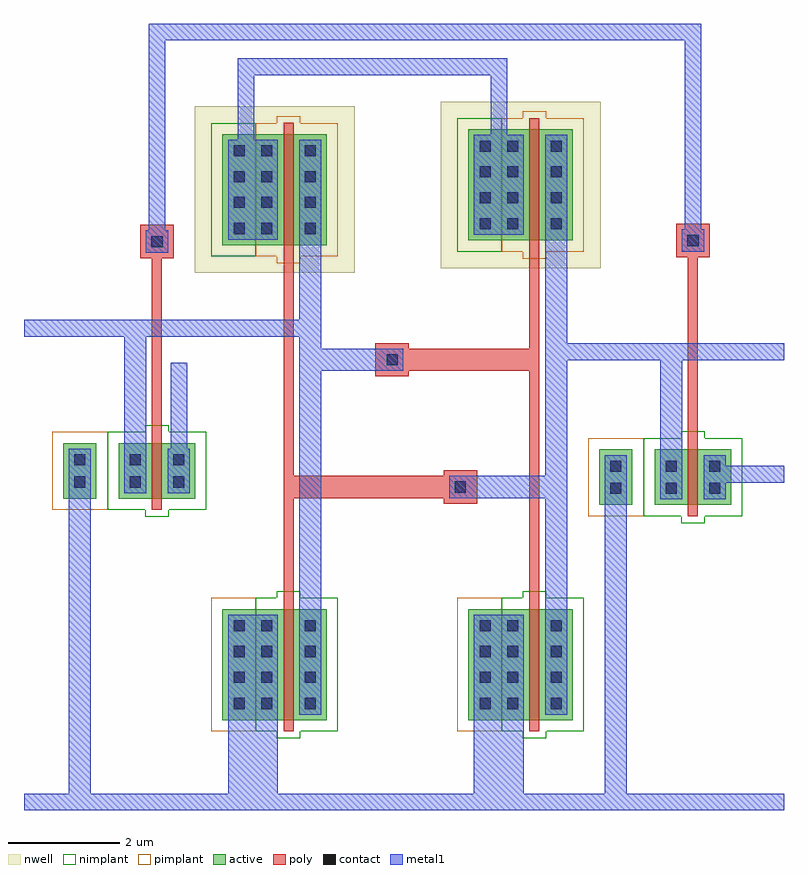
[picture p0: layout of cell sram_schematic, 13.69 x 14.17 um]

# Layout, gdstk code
import gdstk
lib = gdstk.Library(unit=1e-6, precision=5e-10)
def R(c, l, rs):  # rectangles x0, y0, x1, y1
    for r in rs: c.add(gdstk.rectangle(r[:2], r[2:], *l))
def A(c, l, x, y, w, h, nx, ny, dx, dy):  # array of equal rectangles
    R(c, l, [(x+i*dx, y+j*dy, x+i*dx+w, y+j*dy+h) for i in range(nx) for j in range(ny)])
active = (1, 0)
nwell = (2, 0)
poly = (3, 0)
nimplant = (4, 0)
pimplant = (5, 0)
contact = (6, 0)
metal1 = (7, 0)

nmos_cdns_787501521820 = lib.new_cell('nmos_CDNS_787501521820')
R(nmos_cdns_787501521820, active, [(-1.1,0,0,2), (0,0,0.18,2), (0.18,0,0.78,2)])
R(nmos_cdns_787501521820, poly, [(0,-0.205,0.18,-0.2), (0,-0.2,0.18,0), (0,0,0.18,2), (0,2,0.18,2.2), (0,2.2,0.18,2.205)])
R(nmos_cdns_787501521820, nimplant, [(-0.12,-0.325,0.3,-0.2), (-0.5,-0.2,0.98,2.2), (-0.12,2.2,0.3,2.325)])
R(nmos_cdns_787501521820, pimplant, [(-1.3,-0.2,-0.5,2.2)])
A(nmos_cdns_787501521820, contact, -0.9, 0.67, 0.2, 0.2, 1, 3, 0, 0.465)
A(nmos_cdns_787501521820, contact, -0.4, 0.67, 0.2, 0.2, 1, 3, 0, 0.465)
A(nmos_cdns_787501521820, contact, 0.38, 0.67, 0.2, 0.2, 1, 3, 0, 0.465)
R(nmos_cdns_787501521820, contact, [(-0.9,0.2,-0.7,0.4), (-0.4,0.2,-0.2,0.4), (0.38,0.2,0.58,0.4)])
R(nmos_cdns_787501521820, metal1, [(-1,0.1,-0.1,1.9), (-1,0.1,-0.1,1.9), (0.28,0.1,0.68,1.9)])

pmos_cdns_787501521821 = lib.new_cell('pmos_CDNS_787501521821')
R(pmos_cdns_787501521821, active, [(-1.1,0,0,2), (0,0,0.18,2), (0.18,0,0.78,2)])
R(pmos_cdns_787501521821, nwell, [(-1.6,-0.5,1.28,2.5)])
R(pmos_cdns_787501521821, poly, [(0,-0.205,0.18,-0.2), (0,-0.2,0.18,0), (0,0,0.18,2), (0,2,0.18,2.2), (0,2.2,0.18,2.205)])
R(pmos_cdns_787501521821, nimplant, [(-1.3,-0.2,-0.5,2.2)])
R(pmos_cdns_787501521821, pimplant, [(-0.12,-0.325,0.3,-0.2), (-0.5,-0.2,0.98,2.2), (-0.12,2.2,0.3,2.325)])
A(pmos_cdns_787501521821, contact, -0.9, 0.67, 0.2, 0.2, 1, 3, 0, 0.465)
A(pmos_cdns_787501521821, contact, -0.4, 0.67, 0.2, 0.2, 1, 3, 0, 0.465)
A(pmos_cdns_787501521821, contact, 0.38, 0.67, 0.2, 0.2, 1, 3, 0, 0.465)
R(pmos_cdns_787501521821, contact, [(-0.9,0.2,-0.7,0.4), (-0.4,0.2,-0.2,0.4), (0.38,0.2,0.58,0.4)])
R(pmos_cdns_787501521821, metal1, [(-1,0.1,-0.1,1.9), (-1,0.1,-0.1,1.9), (0.28,0.1,0.68,1.9)])

nmos_cdns_787501521822 = lib.new_cell('nmos_CDNS_787501521822')
R(nmos_cdns_787501521822, active, [(-1.6,0,-1,1), (-0.6,0,0,1), (0,0,0.18,1), (0.18,0,0.78,1)])
R(nmos_cdns_787501521822, poly, [(0,-0.205,0.18,-0.2), (0,-0.2,0.18,0), (0,0,0.18,1), (0,1,0.18,1.2), (0,1.2,0.18,1.205)])
R(nmos_cdns_787501521822, nimplant, [(-0.12,-0.325,0.3,-0.2), (-0.8,-0.2,0.98,1.2), (-0.12,1.2,0.3,1.325)])
R(nmos_cdns_787501521822, pimplant, [(-1.8,-0.2,-0.8,1.2)])
R(nmos_cdns_787501521822, contact, [(-1.4,0.2,-1.2,0.4), (-0.4,0.2,-0.2,0.4), (0.38,0.2,0.58,0.4), (-1.4,0.6,-1.2,0.8), (-0.4,0.6,-0.2,0.8), (0.38,0.6,0.58,0.8)])
R(nmos_cdns_787501521822, metal1, [(-1.5,0.1,-1.1,0.9), (-0.5,0.1,-0.1,0.9), (0.28,0.1,0.68,0.9)])

m1_poly1_cdns_7875015218 = lib.new_cell('M1_POLY1_CDNS_787501521820')
R(m1_poly1_cdns_7875015218, poly, [(-0.3,-0.3,0.3,0.3)])
R(m1_poly1_cdns_7875015218, contact, [(-0.1,-0.1,0.1,0.1)])
R(m1_poly1_cdns_7875015218, metal1, [(-0.2,-0.2,0.2,0.2)])

sram_schematic = lib.new_cell('sram_schematic')
R(sram_schematic, metal1, [(0,0,13.69,0.3), (13.39,5.905,13.69,6.205), (2.645,7.76,2.945,8.06), (13.39,8.11,13.69,8.41), (0,8.535,0.3,8.835), (3.85,13.245,4.15,13.545), (2.245,13.87,2.545,14.17)])
sram_schematic.add(gdstk.FlexPath([(12.05,6.705),(12.05,10.265)], 0.18, ends="flush", simple_path=True, layer=3, datatype=0))  # poly
sram_schematic.add(gdstk.FlexPath([(2.395,6.82),(2.395,10.245)], 0.18, ends="flush", simple_path=True, layer=3, datatype=0))  # poly
sram_schematic.add(gdstk.FlexPath([(4.765,9.975),(4.765,5.825)], 0.18, ends=(0, 0.2), simple_path=True, layer=3, datatype=0))  # poly
sram_schematic.add(gdstk.FlexPath([(7.86,5.825),(4.765,5.825)], 0.4, ends=(0, 0.09), simple_path=True, layer=3, datatype=0))  # poly
sram_schematic.add(gdstk.FlexPath([(9.195,10.06),(9.195,8.115)], 0.18, ends=(0, 0.2), simple_path=True, layer=3, datatype=0))  # poly
sram_schematic.add(gdstk.FlexPath([(6.63,8.115),(9.195,8.115)], 0.4, ends=(0, 0.09), simple_path=True, layer=3, datatype=0))  # poly
sram_schematic.add(gdstk.FlexPath([(9.195,8.115),(9.195,3.83)], 0.18, ends=(0.2, 0), simple_path=True, layer=3, datatype=0))  # poly
sram_schematic.add(gdstk.FlexPath([(4.765,5.825),(4.765,3.83)], 0.18, ends=(0.2, 0), simple_path=True, layer=3, datatype=0))  # poly
sram_schematic.add(gdstk.FlexPath([(10.66,5.6),(10.66,0.3)], 0.4, ends="flush", simple_path=True, layer=7, datatype=0))  # metal1
sram_schematic.add(gdstk.FlexPath([(1.005,5.715),(1.005,0.3)], 0.4, ends="flush", simple_path=True, layer=7, datatype=0))  # metal1
sram_schematic.add(gdstk.FlexPath([(8.555,1.725),(8.555,0.3)], 0.9, ends="flush", simple_path=True, layer=7, datatype=0))  # metal1
sram_schematic.add(gdstk.FlexPath([(4.125,1.725),(4.125,0.3)], 0.9, ends="flush", simple_path=True, layer=7, datatype=0))  # metal1
sram_schematic.add(gdstk.FlexPath([(13.54,6.055),(12.64,6.055)], 0.3, ends="flush", simple_path=True, layer=7, datatype=0))  # metal1
sram_schematic.add(gdstk.FlexPath([(12.05,14.02),(2.545,14.02)], 0.3, ends=(0.15, 0), simple_path=True, layer=7, datatype=0))  # metal1
sram_schematic.add(gdstk.FlexPath([(12.05,10.265),(12.05,14.02)], 0.3, ends=(0, 0.15), simple_path=True, layer=7, datatype=0))  # metal1
sram_schematic.add(gdstk.FlexPath([(2.795,7.91),(2.795,6.515)], 0.3, ends="flush", simple_path=True, layer=7, datatype=0))  # metal1
sram_schematic.add(gdstk.FlexPath([(2.395,10.245),(2.395,13.87)], 0.3, ends="flush", simple_path=True, layer=7, datatype=0))  # metal1
sram_schematic.add(gdstk.FlexPath([(2.005,6.515),(2.005,8.685)], 0.4, ends=(0, 0.15), simple_path=True, layer=7, datatype=0))  # metal1
sram_schematic.add(gdstk.FlexPath([(11.66,6.4),(11.66,8.26)], 0.4, ends=(0, 0.15), simple_path=True, layer=7, datatype=0))  # metal1
sram_schematic.add(gdstk.FlexPath([(13.54,8.26),(11.66,8.26)], 0.3, ends=(0, 0.2), simple_path=True, layer=7, datatype=0))  # metal1
sram_schematic.add(gdstk.FlexPath([(9.585,10.365),(9.585,8.26)], 0.4, ends=(0, 0.15), simple_path=True, layer=7, datatype=0))  # metal1
sram_schematic.add(gdstk.FlexPath([(11.66,8.26),(9.585,8.26)], 0.3, ends=(0.2, 0.2), simple_path=True, layer=7, datatype=0))  # metal1
sram_schematic.add(gdstk.FlexPath([(0.15,8.685),(2.005,8.685)], 0.3, ends=(0, 0.2), simple_path=True, layer=7, datatype=0))  # metal1
sram_schematic.add(gdstk.FlexPath([(5.155,10.28),(5.155,8.685)], 0.4, ends=(0, 0.15), simple_path=True, layer=7, datatype=0))  # metal1
sram_schematic.add(gdstk.FlexPath([(2.005,8.685),(5.155,8.685)], 0.3, ends=(0.2, 0.2), simple_path=True, layer=7, datatype=0))  # metal1
sram_schematic.add(gdstk.FlexPath([(9.585,5.825),(7.86,5.825)], 0.4, ends=(0.2, 0), simple_path=True, layer=7, datatype=0))  # metal1
sram_schematic.add(gdstk.FlexPath([(9.585,5.825),(9.585,3.525)], 0.4, ends=(0.2, 0), simple_path=True, layer=7, datatype=0))  # metal1
sram_schematic.add(gdstk.FlexPath([(5.155,8.115),(6.63,8.115)], 0.4, ends=(0.2, 0), simple_path=True, layer=7, datatype=0))  # metal1
sram_schematic.add(gdstk.FlexPath([(5.155,8.115),(5.155,3.525)], 0.4, ends=(0.2, 0), simple_path=True, layer=7, datatype=0))  # metal1
sram_schematic.add(gdstk.FlexPath([(8.555,13.395),(8.555,12.165)], 0.3, ends=(0.15, 0), simple_path=True, layer=7, datatype=0))  # metal1
sram_schematic.add(gdstk.FlexPath([(4.15,13.395),(8.555,13.395)], 0.3, ends=(0, 0.15), simple_path=True, layer=7, datatype=0))  # metal1
sram_schematic.add(gdstk.FlexPath([(4,13.395),(4,12.08)], 0.3, ends="flush", simple_path=True, layer=7, datatype=0))  # metal1
sram_schematic.add(gdstk.FlexPath([(9.585,8.26),(9.585,5.825)], 0.4, ends=(0.15, 0.2), simple_path=True, layer=7, datatype=0))  # metal1
sram_schematic.add(gdstk.FlexPath([(5.155,8.685),(5.155,8.115)], 0.4, ends=(0.15, 0.2), simple_path=True, layer=7, datatype=0))  # metal1
sram_schematic.add(gdstk.Reference(nmos_cdns_787501521820, (9.105,1.625)))
sram_schematic.add(gdstk.Reference(nmos_cdns_787501521820, (4.675,1.625)))
sram_schematic.add(gdstk.Reference(pmos_cdns_787501521821, (9.105,10.265)))
sram_schematic.add(gdstk.Reference(pmos_cdns_787501521821, (4.675,10.18)))
sram_schematic.add(gdstk.Reference(nmos_cdns_787501521822, (11.96,5.5)))
sram_schematic.add(gdstk.Reference(nmos_cdns_787501521822, (2.305,5.615)))
sram_schematic.add(gdstk.Reference(m1_poly1_cdns_7875015218, (12.05,10.265)))
sram_schematic.add(gdstk.Reference(m1_poly1_cdns_7875015218, (2.395,10.245)))
sram_schematic.add(gdstk.Reference(m1_poly1_cdns_7875015218, (7.86,5.825)))
sram_schematic.add(gdstk.Reference(m1_poly1_cdns_7875015218, (6.63,8.115)))

lib.write_gds('sram_schematic.gds')
